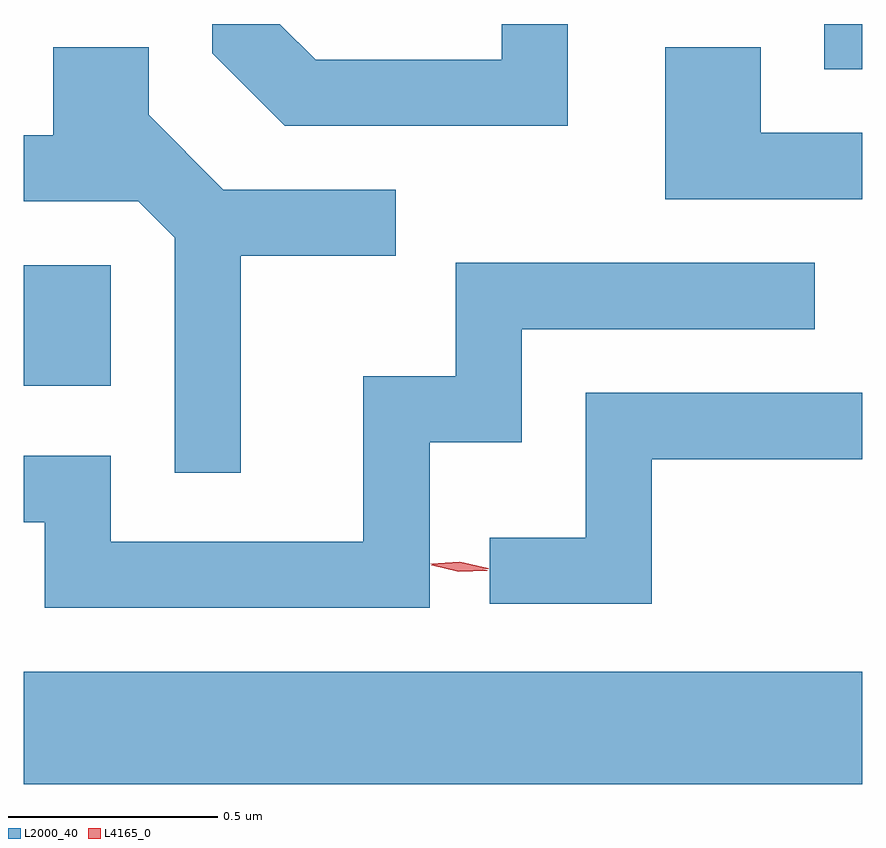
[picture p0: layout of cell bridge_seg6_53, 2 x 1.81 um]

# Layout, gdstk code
import gdstk
lib = gdstk.Library(unit=1e-6, precision=1e-09)
def R(c, l, rs):  # rectangles x0, y0, x1, y1
    for r in rs: c.add(gdstk.rectangle(r[:2], r[2:], *l))
def P(c, l, *ps):  # polygons
    for p in ps: c.add(gdstk.Polygon(p, *l))
L2000_40 = (2000, 40)
L4165_0 = (4165, 0)

bridge_seg6_53 = lib.new_cell('bridge_seg6_53')
R(bridge_seg6_53, L2000_40, [(1505.981,1547.816,1507.981,1548.084), (1505.981,1548.766,1506.189,1549.054), (1507.891,1549.521,1507.981,1549.629)])
P(bridge_seg6_53, L2000_40, [(1507.279,1549.629),(1507.121,1549.629),(1507.121,1549.544),(1506.677,1549.544),(1506.592,1549.629),(1506.431,1549.629),(1506.431,1549.559),(1506.604,1549.386),(1507.279,1549.386)],
  [(1506.499,1549.076),(1506.868,1549.076),(1506.868,1549.234),(1506.457,1549.234),(1506.279,1549.412),(1506.279,1549.574),(1506.051,1549.574),(1506.051,1549.364),(1505.981,1549.364),(1505.981,1549.206),(1506.254,1549.206),(1506.341,1549.119),(1506.341,1548.558),(1506.499,1548.558)],
  [(1507.981,1549.369),(1507.739,1549.369),(1507.739,1549.574),(1507.511,1549.574),(1507.511,1549.211),(1507.981,1549.211)],
  [(1506.949,1548.631),(1507.169,1548.631),(1507.169,1548.901),(1507.868,1548.901),(1507.868,1549.059),(1507.011,1549.059),(1507.011,1548.789),(1506.791,1548.789),(1506.791,1548.394),(1506.189,1548.394),(1506.189,1548.599),(1505.981,1548.599),(1505.981,1548.441),(1506.031,1548.441),(1506.031,1548.236),(1506.949,1548.236)],
  [(1507.479,1548.591),(1507.981,1548.591),(1507.981,1548.749),(1507.321,1548.749),(1507.321,1548.404),(1507.093,1548.404),(1507.093,1548.246),(1507.479,1548.246)])
P(bridge_seg6_53, L4165_0, [(1507.019,1548.322),(1506.954,1548.338),(1506.953,1548.338),(1506.954,1548.339),(1507.021,1548.342),(1507.086,1548.326),(1507.086,1548.325),(1507.086,1548.325)],
  [(1507.02,1548.326),(1506.952,1548.341),(1506.951,1548.342),(1506.952,1548.342),(1507.021,1548.346),(1507.089,1548.331),(1507.09,1548.33),(1507.089,1548.33)])

lib.write_gds('bridge_seg6_53.gds')
